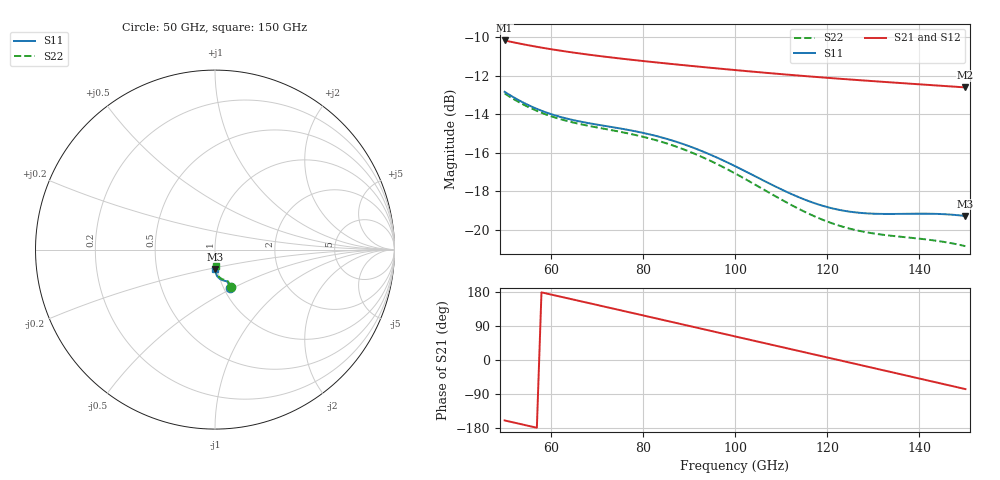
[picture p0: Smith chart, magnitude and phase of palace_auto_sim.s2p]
#  GHZ S DB R 50
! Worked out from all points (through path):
!   101 points, 50 GHz to 150 GHz, reference 50 ohm
!   highest |S21| = -10.17 dB at 50 GHz (marker M1); lowest = -12.6 dB at 150 GHz (marker M2)
!   group delay of S21, straight-line fit = 7.7 ps
!   lowest |S11| = -19.3 dB at 150 GHz (marker M3), VSWR 1.24, Z = 48.9 - j10.7 ohm
!   |S11| at or under -10 dB: start of sweep to end of sweep
!   |S22| runs from -20.9 to -12.9 dB; largest |S21 - S12| = 4.3e-15
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50  -12.84 -68.1  -10.17 -159.5  -10.17 -159.5  -12.93 -67.3
54  -13.39 -68.4  -10.37 -170.5  -10.37 -170.5  -13.49 -67.5
58  -13.82 -68.5  -10.55 178.5  -10.55 178.5  -13.93 -67.6
62  -14.14 -68.7  -10.70 167.5  -10.70 167.5  -14.25 -67.8
67  -14.41 -69.4  -10.87 153.7  -10.87 153.7  -14.55 -68.5
72  -14.62 -70.9  -11.02 139.9  -11.02 139.9  -14.78 -70.0
76  -14.78 -72.6  -11.14 128.9  -11.14 128.9  -14.96 -71.7
80  -14.97 -74.7  -11.24 117.8  -11.24 117.8  -15.17 -73.8
84  -15.20 -77.0  -11.34 106.7  -11.34 106.7  -15.43 -76.2
88  -15.49 -79.4  -11.44 95.6  -11.44 95.6  -15.75 -78.6
92  -15.84 -81.7  -11.53 84.5  -11.53 84.5  -16.13 -81.0
96  -16.25 -83.8  -11.62 73.4  -11.62 73.4  -16.58 -83.3
100  -16.70 -85.6  -11.71 62.3  -11.71 62.3  -17.08 -85.1
109  -17.78 -87.7  -11.90 37.3  -11.90 37.3  -18.29 -87.5
113  -18.23 -87.7  -11.98 26.2  -11.98 26.2  -18.81 -87.6
117  -18.60 -87.2  -12.06 15.1  -12.06 15.1  -19.28 -87.2
121  -18.88 -86.5  -12.13 4.0  -12.13 4.0  -19.66 -86.4
125  -19.06 -85.7  -12.20 -7.1  -12.20 -7.1  -19.95 -85.6
129  -19.16 -85.2  -12.27 -18.2  -12.27 -18.2  -20.15 -84.9
134  -19.18 -85.1  -12.35 -32.2  -12.35 -32.2  -20.31 -84.5
142  -19.17 -86.7  -12.48 -54.5  -12.48 -54.5  -20.52 -85.3
150  -19.29 -89.9  -12.61 -76.8  -12.61 -76.8  -20.85 -87.5
